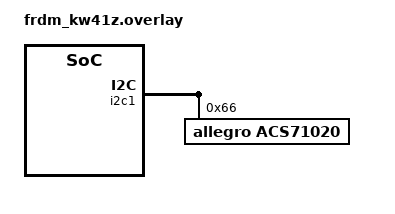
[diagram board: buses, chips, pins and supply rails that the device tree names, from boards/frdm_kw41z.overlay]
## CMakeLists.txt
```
# SPDX-License-Identifier: Apache-2.0

cmake_minimum_required(VERSION 3.13.1)
find_package(Zephyr REQUIRED HINTS $ENV{ZEPHYR_BASE})
project(acs71020)

FILE(GLOB app_sources src/*.c)
target_sources(app PRIVATE ${app_sources})
```

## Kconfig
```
# Copyright (c) 2020, Nordic Semiconductor ASA
# SPDX-License-Identifier: Apache-2.0

config LOG
	default y

config LOG_PRINTK
	default y

config SENSOR_LOG_LEVEL
	default 4

config I2C
	default y

source "Kconfig.zephyr"
```

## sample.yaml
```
sample:
  name: BBTherm
tests:
sample.sensor.acs71020:
  harness: console
  tags: sensors
  harness_config:
      type: one_line
      regex:
          - "vrms: (.*); irms: (.*); pactive: (.*)"
      fixture: fixture_i2c_acs71020
  depends_on: i2c
  filter: dt_compat_enabled("allegro,acs71020")
```

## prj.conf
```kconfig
CONFIG_SENSOR=y
CONFIG_ACS71020=y
CONFIG_GPIO=y
```

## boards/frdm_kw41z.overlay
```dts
/*
 * Copyright (c) 2020, SER Consulting LLC / Steven Riedl
 *
 * SPDX-License-Identifier: Apache-2.0
 */

&i2c1 {
	acs71020@66 {
		compatible = "allegro,acs71020";
		reg = <0x66>;
		label = "ACS71020";
	};

};
```

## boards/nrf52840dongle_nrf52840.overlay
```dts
/*
 * Copyright (c) 2020, Nordic Semiconductor ASA
 *
 * SPDX-License-Identifier: Apache-2.0
 */

&i2c0 {
	acs71020@66 {
		compatible = "allegro,acs71020";
		reg = <0x66>;
		label = "ACS71020";
	};
};
```

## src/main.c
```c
/*
 * Copyright (c) 2012-2014 Wind River Systems, Inc.
 *
 * SPDX-License-Identifier: Apache-2.0
 */

#include <zephyr.h>
#include <device.h>
#include <devicetree.h>
#include <drivers/sensor.h>
#include <drivers/gpio.h>
#include <sys/util.h>
#include <sys/printk.h>
#include <inttypes.h>

#define ACS71020 DT_INST(0, allegro_acs71020)

#if DT_NODE_HAS_STATUS(ACS71020, okay)
#define ACS71020_LABEL DT_LABEL(ACS71020)
#else
#error Your devicetree has no enabled nodes with compatible "allegroacs71020"
#define ACS71020_LABEL "<none>"
#endif

void main(void)
{
	// ACS71020 AC power monitor
	const struct device *acs = device_get_binding(ACS71020_LABEL);
	bool facs = false;

	if (acs == NULL) {
		printk("No device \"%s\"\n", ACS71020_LABEL);
		return;
	} else {
		printk("Found device \"%s\"\n", ACS71020_LABEL);
		facs = true;
	}

	int ret;

	while (1) {

		if (facs) {
			ret = sensor_sample_fetch(acs);
			if (ret < 0) {
				printk("ACS71020 fetch error %d\n", ret);
			} else {
				struct sensor_value volts, amps, watts;
				sensor_channel_get(acs, SENSOR_CHAN_VOLTAGE, &volts);
				sensor_channel_get(acs, SENSOR_CHAN_CURRENT, &amps);
				sensor_channel_get(acs, SENSOR_CHAN_POWER, &watts);
				printk("RMS Voltage: %d.%06d; RMS Current: %d.%06d; Power: %d.%06d\n",
				       volts.val1, volts.val2, amps.val1, amps.val2,
				       watts.val1, watts.val2);
			}
		}

		k_sleep(K_MSEC(10000));
	}
}
```
